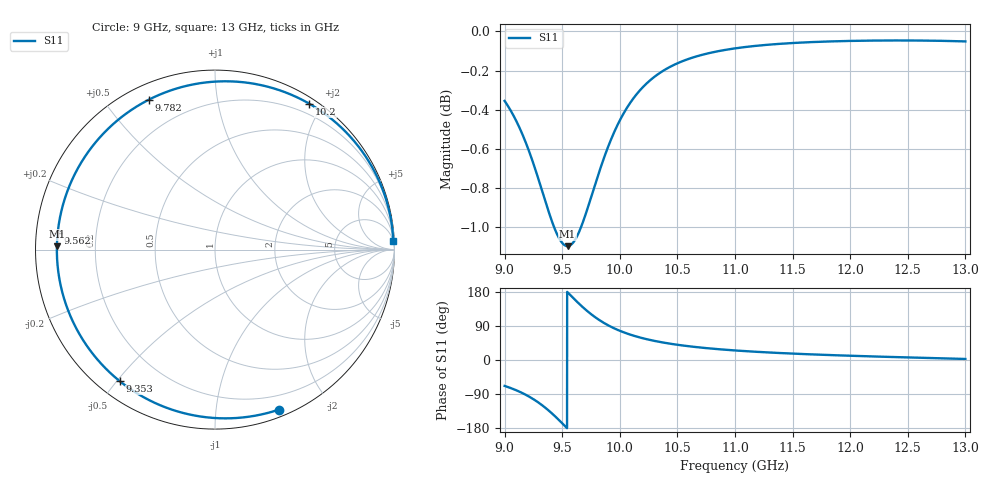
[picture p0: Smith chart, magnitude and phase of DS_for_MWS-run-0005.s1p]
! TOUCHSTONE file generated by CST DESIGN STUDIO
! Date and time: Tue Feb  4 17:16:55 2025
! Project name: C:\Work\MatlabApps\UnitCellOptimizationMatlab\CST\unitcell.cst
! Tree item: Tasks\Sweep1\SPara1\S-Parameters
! Header version: 2024
! Port assignment regex: !\s*Touchstone port\s*([0-9]+)\s*=\s*(CST MWS port|CST DES external port|CST DES block port)\s*(.+)\s* \(\"(.*)\"\)(\s*mode\s*([0-9]+))?.*
! Touchstone port assignment:
! Touchstone port 1 = CST DES external port 1 ("")
# GHz S MA R 50
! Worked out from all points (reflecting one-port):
!   4001 points, 9 GHz to 13 GHz, reference 50 ohm
!   lowest |S11| = -1.1 dB at 9.546 GHz (marker M1), VSWR 15.82, Z = 3.16 + j0.506 ohm
!   phase of S11 starts at -68 deg and turns -289 deg over the sweep
!   S11 on the Smith chart (normalised r, x): 9 GHz: 0.06, -1.47; 9.353 GHz: 0.06, -0.51; 9.562 GHz: 0.06, +0.05; 9.782 GHz: 0.06, +0.65; 10.2 GHz: 0.07, +1.84; 13 GHz: 5, +41
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9  0.9599 -68.4
9.099  0.9489 -79.6
9.208  0.9326 -95.8
9.284  0.9186 -110.2
9.353  0.9049 -125.9
9.423  0.8921 -144.3
9.463  0.8864 -155.8
9.5  0.8828 -167.0
9.546  0.8811 178.8
9.562  0.8813 173.9
9.617  0.885 157.1
9.678  0.8934 139.6
9.729  0.9026 126.2
9.782  0.913 113.8
9.829  0.922 104.1
9.879  0.931 94.9
9.935  0.94 85.9
10  0.9489 77.1
10.097  0.9594 66.3
10.204  0.968 57.1
10.34  0.9755 48.1
10.5  0.9814 40.2
10.721  0.9864 32.2
11  0.9901 25.2
11.5  0.9932 16.9
12  0.9944 11.2
12.5  0.9947 6.8
13  0.9942 2.8
